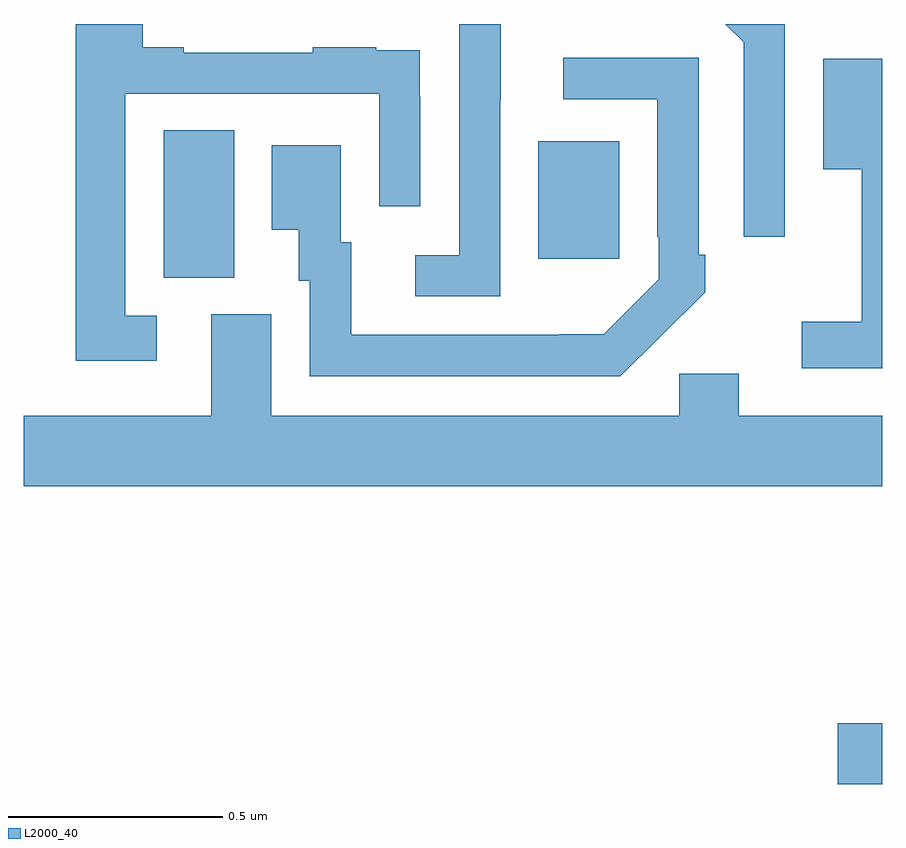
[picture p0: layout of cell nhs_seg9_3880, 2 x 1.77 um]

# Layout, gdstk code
import gdstk
lib = gdstk.Library(unit=1e-6, precision=1e-09)
def R(c, l, rs):  # rectangles x0, y0, x1, y1
    for r in rs: c.add(gdstk.rectangle(r[:2], r[2:], *l))
def P(c, l, *ps):  # polygons
    for p in ps: c.add(gdstk.Polygon(p, *l))
L2000_40 = (2000, 40)

nhs_seg9_3880 = lib.new_cell('nhs_seg9_3880')
R(nhs_seg9_3880, L2000_40, [(160.896,1191.73,161,1191.872), (159.326,1192.909,159.49,1193.252), (160.199,1192.953,160.387,1193.227)])
P(nhs_seg9_3880, L2000_40, [(159.31,1192.821),(159.237,1192.821),(159.237,1193.337),(159.828,1193.337),(159.828,1193.076),(159.924,1193.076),(159.924,1193.33),(159.923,1193.33),(159.923,1193.439),(159.821,1193.439),(159.821,1193.446),(159.673,1193.446),(159.673,1193.433),(159.373,1193.433),(159.373,1193.446),(159.277,1193.446),(159.277,1193.5),(159.121,1193.5),(159.121,1192.716),(159.31,1192.716)],
  [(160.11,1193.323),(160.111,1193.323),(160.111,1193.5),(160.014,1193.5),(160.014,1192.962),(159.912,1192.962),(159.912,1192.866),(160.11,1192.866)],
  [(160.773,1193.499),(160.772,1193.5),(160.634,1193.5),(160.677,1193.457),(160.677,1193.004),(160.773,1193.004)],
  [(160.481,1192.771),(160.482,1192.77),(160.587,1192.875),(160.587,1192.963),(160.572,1192.963),(160.572,1193.421),(160.257,1193.421),(160.257,1193.325),(160.476,1193.325),(160.476,1193.005),(160.479,1193.005),(160.479,1192.905),(160.351,1192.777),(160.247,1192.777),(160.247,1192.776),(159.763,1192.776),(159.763,1192.992),(159.739,1192.992),(159.739,1193.218),(159.578,1193.218),(159.578,1193.021),(159.641,1193.021),(159.641,1192.902),(159.666,1192.902),(159.666,1192.68),(160.39,1192.68)],
  [(161,1193.419),(160.862,1193.419),(160.862,1193.162),(160.952,1193.162),(160.952,1192.807),(160.812,1192.807),(160.812,1192.698),(161,1192.698)],
  [(161,1192.588),(160.666,1192.588),(160.666,1192.686),(160.527,1192.686),(160.527,1192.588),(159.577,1192.588),(159.577,1192.824),(159.437,1192.824),(159.437,1192.588),(159,1192.588),(159,1192.424),(161,1192.424)])

lib.write_gds('nhs_seg9_3880.gds')
